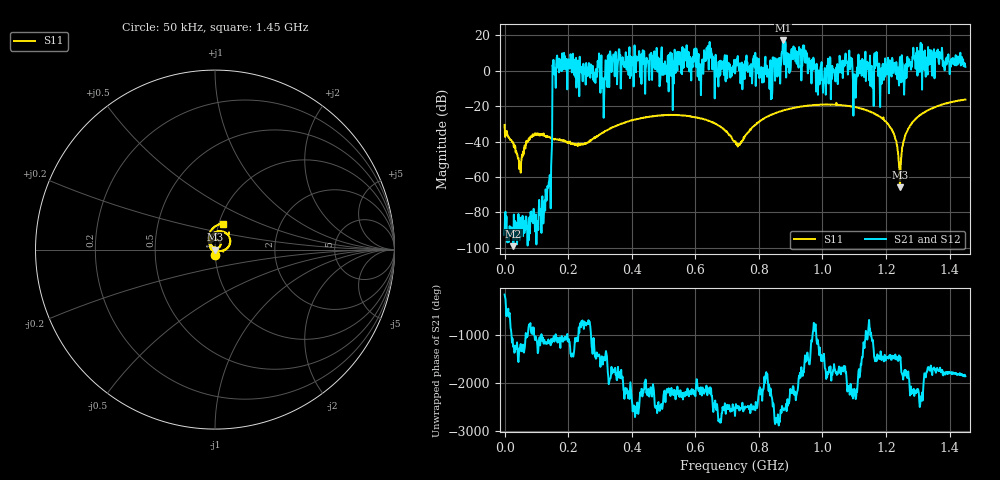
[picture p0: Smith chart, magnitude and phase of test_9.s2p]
! Created with skrf 1.11.0 (http://scikit-rf.org).
# Hz S RI R 50.0
!freq ReS11 ImS11 ReS21 ImS21 ReS12 ImS12 ReS22 ImS22
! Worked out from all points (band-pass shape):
!   1001 points, 50 kHz to 1.45 GHz, reference 50 ohm
!   highest |S21| = 17.03 dB at 875.8 MHz (marker M1); lowest = -99.0 dB at 27.6 MHz (marker M2)
!   |S21| within 3 dB of the highest: 408.9003 MHz to 408.9837 MHz (83.46 kHz wide, 0.0204 % of centre); 882.7152 MHz to 884.572 MHz (1.857 MHz wide, 0.21 % of centre) (the widest 2 of 9)
!   lowest |S11| = -65.8 dB at 1.244 GHz (marker M3), VSWR 1.00, Z = 50 + j0.0301 ohm
!   |S11| at or under -10 dB: start of sweep to end of sweep
!   |S22| runs from - to - dB; largest |S21 - S12| = 0
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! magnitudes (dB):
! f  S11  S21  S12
! 50 kHz  -30.6  -92.6  -92.6
! 27.6 MHz  -40.7  -99.0  -99.0
! 49.35 MHz  -53.6  -83.0  -83.0
! 127.6 MHz  -36.8  -79.0  -79.0
! 142.1 MHz  -37.3  -58.9  -58.9
! 158.1 MHz  -38.5  1.6  1.6
! 242.2 MHz  -41.5  -1.1  -1.1
! 484.3 MHz  -25.4  3.5  3.5
! 598.9 MHz  -26.3  10.6  10.6
! 619.2 MHz  -27.0  1.5  1.5
! 642.4 MHz  -28.4  0.6  0.6
! 668.5 MHz  -30.4  -3.5  -3.5
! 725 MHz  -40.2  -1.6  -1.6
! 835.2 MHz  -25.2  3.7  3.7
! 875.8 MHz  -22.5  17.0  17.0
! 967.2 MHz  -19.5  6.2  6.2
! 1.079 GHz  -19.8  4.3  4.3
! 1.103 GHz  -20.6  -5.1  -5.1
! 1.209 GHz  -30.7  -12.8  -12.8
! 1.244 GHz  -65.8  7.7  7.7
! 1.296 GHz  -26.6  7.2  7.2
! 1.45 GHz  -16.3  2.1  2.1
